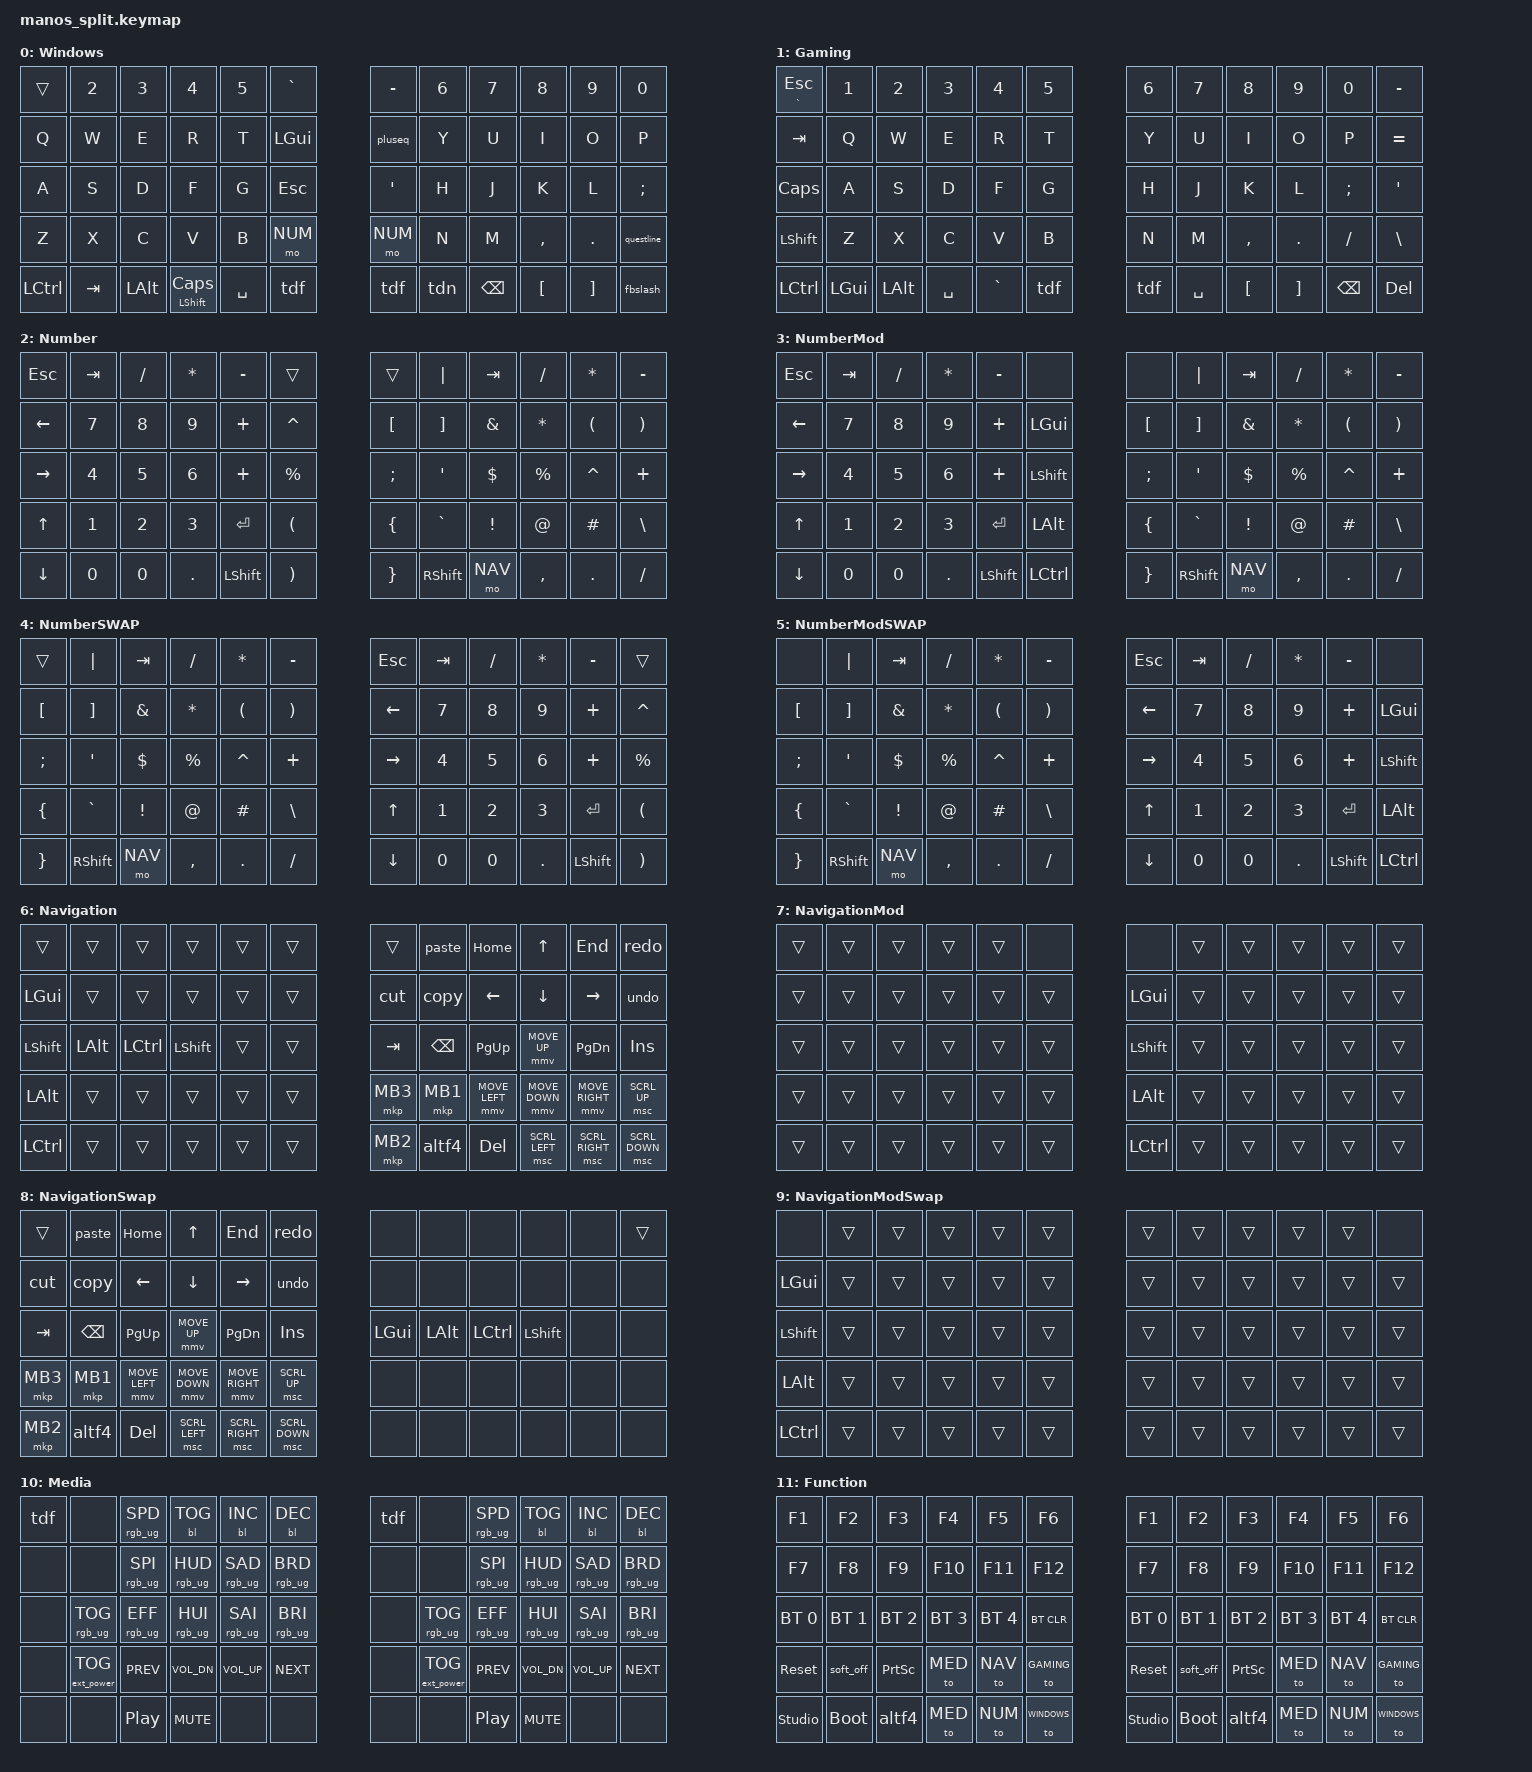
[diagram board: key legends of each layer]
#include <behaviors.dtsi>
#include <dt-bindings/zmk/keys.h>
#include <dt-bindings/zmk/bt.h>
#include <dt-bindings/zmk/outputs.h>
#include <dt-bindings/zmk/backlight.h>
#include <dt-bindings/zmk/rgb.h>
#include <dt-bindings/zmk/ext_power.h>

#define ZMK_POINTING_DEFAULT_MOVE_VAL 600
#define ZMK_POINTING_DEFAULT_SCRL_VAL 10

#include <dt-bindings/zmk/pointing.h>

#define WINDOWS 0
#define GAMING 1
#define NUM 2
#define NUMMOD 3
#define NUMSW 4
#define NUMMODSW 5
#define NAV 6
#define NAVMOD 7
#define NAVSW 8
#define NAVMODSW 9
#define MED 10
#define FUN 11

// Behavior Overrides
&lt {
    tapping-term-ms = <200>;
    flavor = "hold-preferred";
};

/ {
    macros {
        spotlight: spotlight {
            compatible = "zmk,behavior-macro";
            #binding-cells = <0>;
            bindings = <&macro_press &kp LGUI>, <&macro_tap &kp SPACE>, <&macro_release &kp LGUI>; 
        };

        // Emoji
        mac_emoji: mac_emoji {
            compatible = "zmk,behavior-macro";
            #binding-cells = <0>;
            bindings = <&macro_press &kp LGUI>, <&macro_press &kp LCTRL>, <&macro_tap &kp SPACE>, <&macro_release &kp LCTRL>, <&macro_release &kp LGUI>; 
        };

        windows_emoji: windows_emoji {
            compatible = "zmk,behavior-macro";
            #binding-cells = <0>;
            bindings = <&macro_press &kp LGUI>, <&macro_tap &kp DOT>, <&macro_release &kp LGUI>; 
        };

        altf4: alt_f4 {
            compatible = "zmk,behavior-macro";
            #binding-cells = <0>;
            bindings = <&macro_press &kp LALT>, <&macro_tap &kp F4>, <&macro_release &kp LALT>; 
        };

        cut: cut {
            compatible = "zmk,behavior-macro";
            #binding-cells = <0>;
            bindings = <&macro_press &kp LCTRL>, <&macro_tap &kp X>, <&macro_release &kp LCTRL>; 
        };

        copy: copy {
            compatible = "zmk,behavior-macro";
            #binding-cells = <0>;
            bindings = <&macro_press &kp LCTRL>, <&macro_tap &kp C>, <&macro_release &kp LCTRL>; 
        };

        paste: paste {
            compatible = "zmk,behavior-macro";
            #binding-cells = <0>;
            bindings = <&macro_press &kp LCTRL>, <&macro_tap &kp V>, <&macro_release &kp LCTRL>; 
        };

        undo: undo {
            compatible = "zmk,behavior-macro";
            #binding-cells = <0>;
            bindings = <&macro_press &kp LCTRL>, <&macro_tap &kp Z>, <&macro_release &kp LCTRL>; 
        };

        redo: redo {
            compatible = "zmk,behavior-macro";
            #binding-cells = <0>;
            bindings = <&macro_press &kp LCTRL>, <&macro_tap &kp Y>, <&macro_release &kp LCTRL>; 
        };
    };

    behaviors {
        bm: bottom_row_mods {
            compatible = "zmk,behavior-hold-tap";
            #binding-cells = <2>;
            tapping-term-ms = <135>;
            quick-tap-ms = <0>;
            flavor = "tap-preferred";
            bindings = <&kp>, <&kp>;
        };

        cm: code_row_mods {
            compatible = "zmk,behavior-hold-tap";
            #binding-cells = <2>;
            tapping-term-ms = <200>;
            quick-tap-ms = <0>;
            flavor = "tap-preferred";
            bindings = <&kp>, <&kp>;
            retro-tap;
        };

        sm: space_mod {
            compatible = "zmk,behavior-hold-tap";
            #binding-cells = <2>;
            flavor = "balanced";
            tapping-term-ms = <200>;
            quick-tap-ms = <125>;
            bindings = <&kp>, <&kp>;
        };

        td_multi_mac: tap_dance_multi_mac {
            compatible = "zmk,behavior-tap-dance";
            #binding-cells = <0>;
            tapping-term-ms = <200>;
            bindings = <&sm ESC LALT>, <&spotlight>, <&kp LCTRL>, <&mac_emoji>;
        };

        td_multi_windows: tap_dance_multi_windows {
            compatible = "zmk,behavior-tap-dance";
            #binding-cells = <0>;
            tapping-term-ms = <200>;
            bindings = <&sm ESC LALT>, <&kp LGUI>, <&windows_emoji>;
        };

        tdf: tap_dance_layer_fun {
            compatible = "zmk,behavior-tap-dance";
            #binding-cells = <0>;
            tapping-term-ms = <200>;
            bindings = <&mo FUN>, <&to FUN>;
        };

        tdn: tap_dance_layer_nav {
            compatible = "zmk,behavior-tap-dance";
            #binding-cells = <0>;
            tapping-term-ms = <200>;
            bindings = <&mo NAV>, <&to NAV>;
        };


        fbslash: forward_backward_slash {
            compatible = "zmk,behavior-mod-morph";
            #binding-cells = <0>;
            bindings = <&kp FSLH>, <&kp BSLH>;
            mods = <(MOD_LGUI|MOD_LSFT|MOD_RGUI|MOD_RSFT)>;
        };

        questline: questionmark_pipe {
            compatible = "zmk,behavior-mod-morph";
            #binding-cells = <0>;
            bindings = <&kp FSLH>, <&kp BSLH>;
            mods = <(MOD_LGUI|MOD_LSFT|MOD_RGUI|MOD_RSFT)>;
            keep-mods = <(MOD_LGUI|MOD_LSFT|MOD_RGUI|MOD_RSFT)>; 
        };

        bspacedel: backspace_delete {
            compatible = "zmk,behavior-mod-morph";
            #binding-cells = <0>;
            bindings = <&kp BSPC>, <&kp DEL>;
            mods = <(MOD_LGUI|MOD_LCTL|MOD_LALT|MOD_RGUI|MOD_RCTL|MOD_RALT)>;
        };

        pluseq: pluse_equal {
            compatible = "zmk,behavior-mod-morph";
            #binding-cells = <0>;
            bindings = <&kp PLUS>, <&kp EQUAL>;
            mods = <(MOD_LSFT|MOD_RSFT)>;
            keep-mods = <(MOD_LSFT|MOD_RSFT)>;
        };
    };
    
    keymap {
        compatible = "zmk,keymap";

        windows_main {
            display-name = "Windows";
            bindings = <
            // -------------------------------------------------------------------------------------------------------------------------------------------------------
            // |   1      |    2   |    3    |    4          |  5      |    `        | || |   -          |      6         |   7         |    8    |   9     |   0    |
            // |   Q      |    W   |    E    |    R          |  T      |   GUI       | || |   + - =      |      Y         |   U         |    I    |   O     |   P    |
            // |   A      |    S   |    D    |    F          |  G      |   ESC       | || |    '         |      H         |   J         |    K    |   L     |   ;    |
            // |   Z      |    X   |    C    |    V          |  B      |  NUMBER     | || |   NUMBER     |      N         |   M         |    ,    |   .     | ? - |  |
            // |  CTRL    |  TAB   |   ALT   |  SHIFT - CAPS | SPACE   |   FUN       | || |   FUN        |     NAV        |  BSPC-DEL   | brack l | brack f | f slash - back slash |
                &trans    &kp N2   &kp N3    &kp N4          &kp N5    &kp GRAVE           &kp MINUS     &kp N6           &kp N7        &kp N8    &kp N9    &kp N0   
                &kp Q     &kp W    &kp E     &kp R           &kp T     &kp LGUI            &pluseq       &kp Y            &kp U         &kp I     &kp O     &kp P    
                &kp A     &kp S    &kp D     &kp F           &kp G     &kp ESC             &kp SQT       &kp H            &kp J         &kp K     &kp L     &kp SEMI 
                &kp Z     &kp X    &kp C     &kp V           &kp B     &mo NUM             &mo NUM       &kp N            &kp M         &kp COMMA &kp DOT   &questline
                &kp LCTRL &kp TAB  &kp LALT  &mt LSHIFT CAPS &kp SPACE &tdf        &tdf  &tdn     &kp BSPC      &kp LBKT  &kp RBKT  &fbslash
            >;
        };

        gaming_layer {
            display-name = "Gaming";
            bindings = <
            // ---------------------------------------------------------------------------------------------------------------------------------
            // | ` - ESC |   1    |    2   |    3    |    4    |  5          | || |    6        |   7    |    8    |   9    |   0    |    -    |
            // |  TAB    |   Q    |    W   |    E    |    R    |  T          | || |    Y        |   U    |    I    |   O    |   P    |    =    |
            // |  CAPS   |   A    |    S   |    D    |    F    |  G          | || |    H        |   J    |    K    |   L    |   ;    |    '    |
            // |  SHIFT  |   Z    |    X   |    C    |    V    |  B          | || |    N        |   M    |    ,    |   .    |f slash |b slash  |
            // |  CTRL   |  GUI   |   ALT  |  SPACE  |    `    | FUN         | || |    FUN      |  FUN   |L brack  |r brack |  BSPC  | DELETE  |
            &mt GRAVE ESC &kp N1   &kp N2   &kp N3    &kp N4    &kp N5            &kp N6        &kp N7    &kp N8    &kp N9   &kp N0   &kp MINUS 
                &kp TAB   &kp Q    &kp W    &kp E     &kp R     &kp T             &kp Y         &kp U     &kp I     &kp O    &kp P    &kp EQUAL
                &kp CAPS  &kp A    &kp S    &kp D     &kp F     &kp G             &kp H         &kp J     &kp K     &kp L    &kp SEMI &kp SQT
                &kp LSHFT &kp Z    &kp X    &kp C     &kp V     &kp B             &kp N         &kp M     &kp COMMA &kp DOT  &kp FSLH &kp BSLH
                &kp LCTRL &kp LGUI &kp LALT &kp SPACE &kp GRAVE &tdf      &tdf  &kp SPACE &kp LBKT  &kp RBKT &kp BSPC &kp DEL
            >;
        };
            
        number_layer {
            display-name = "Number";
            bindings = < 
            // -----------------------------------------------------------------------------------------------------------------------------------------------------------------
            // |  ESC     |  TAB  | f slash|   *         |     -   |  Mod-Fun-Swap       | || |  Mod-Fun-Swap       |      |       |  TAB   | f slash    |     *      |   -    |
            // |   ◀      |   7   |    8   |  9         |     +   |    ^                | || |     L Bracket        |   R Bracket  |  &     |     *      |  Left P    |Right P |
            // |    ▶     |   4   |    5   |  6         |    +    |    %                | || |     ;                |     '        |  $     |      %     |     ^      |   +    |
            // |    ▲     |  1    |    2   |  3         |  ENTER  |    Left Parenthesis | || |  Left Brace          |      `       |     !  |     @      |     #      |b slash|
            // |    ▼     |  0    |    0   |  .         |  SHIFT  |    Right Parenthesis| || |  Right Brace         | SHIFT        | ToNav  |     ,      |     .      |f slash|
                &kp ESC   &kp TAB &kp FSLH &kp ASTERISK &kp MINUS &trans     &trans &kp PIPE       &kp TAB  &kp FSLH     &kp ASTERISK &kp MINUS
                &kp LEFT  &kp N7  &kp N8   &kp N9       &kp PLUS  &kp CARET                  &kp LBKT               &kp RBKT       &kp AMPS &kp ASTERISK &kp LPAR     &kp RPAR
                &kp RIGHT &kp N4  &kp N5   &kp N6       &kp PLUS  &kp PRCNT                  &kp SEMICOLON          &kp APOSTROPHE &kp DLLR &kp PRCNT    &kp CARET    &kp PLUS
                &kp UP    &kp N1  &kp N2   &kp N3       &kp ENTER &kp LPAR                   &kp LBRC               &kp GRAVE      &kp EXCL &kp AT       &kp HASH     &kp BSLH
                &kp DOWN  &kp N0  &kp N0   &kp DOT      &kp LSHFT &kp RPAR                   &kp RBRC               &kp RSHFT      &mo NAV  &kp COMMA    &kp DOT      &kp FSLH
            >;
        };

        number_layer_mods {
            display-name = "NumberMod";
            bindings = < 
            // ----------------------------------------------------------------------------------------------------------------------------------------------------
            // |  ESC     |  TAB  |    /   |  *         |     -   |  Mod-Fun-Swap | || |  Mod-Fun-Swap  |      |       |  TAB   | f slash    |     *      |   -    |
            // |   ◀     |   7    |    8   |  9         |     +   |    GUI        | || |     [          |     ]        |  &     |     *      |     (      |   )    |
            // |    ▶    |   4    |    5   |  6         |    +    |    SHIFT      | || |     ;          |     '        |  $     |      %     |     ^      |   +    |
            // |    ▲     |  1    |    2   |  3         |  ENTER  |    ALT        | || |     {          |      `       |     !  |     @      |     #      | b slash     |
            // |    ▼     |  0    |    0   |  .         |  SHIFT  |    CTRL       | || |     }          | SHIFT        | ToNav  |     ,      |     .      |f slash    |
                &kp ESC   &kp TAB &kp FSLH &kp ASTERISK &kp MINUS &none                 &none           &kp PIPE       &kp TAB  &kp FSLH     &kp ASTERISK &kp MINUS
                &kp LEFT  &kp N7  &kp N8   &kp N9       &kp PLUS  &kp LGUI              &kp LBKT        &kp RBKT       &kp AMPS &kp ASTERISK &kp LPAR     &kp RPAR
                &kp RIGHT &kp N4  &kp N5   &kp N6       &kp PLUS  &kp LSHFT             &kp SEMICOLON   &kp APOSTROPHE &kp DLLR &kp PRCNT    &kp CARET    &kp PLUS
                &kp UP    &kp N1  &kp N2   &kp N3       &kp ENTER &kp LALT              &kp LBRC        &kp GRAVE      &kp EXCL &kp AT       &kp HASH     &kp BSLH
                &kp DOWN  &kp N0  &kp N0   &kp DOT      &kp LSHFT &kp LCTRL             &kp RBRC        &kp RSHFT      &mo NAV  &kp COMMA    &kp DOT      &kp FSLH
            >;
        };


        number_layer_swap {
            display-name = "NumberSWAP";
            bindings = < 
            // -----------------------------------------------------------------------------------------------------------------------------------------------------------------
            // |  Mod-Fun-Swap        |      |       |  TAB   |  f slash     |     *      |   -    | ||  |  ESC     |  TAB  |  f slash    |  *         |     -   |  Mod-Fun-Swap       |
            // |     [                |     ]        |  &     |     *      |     (      |   )    | ||  |   ◀     |   7    |    8   |  9         |     +   |    ^                |
            // |     ;                |     '        |  $     |      %     |     ^      |   +    | ||  |    ▶    |   4    |    5   |  6         |    +    |    %                |
            // |     {                |      `       |     !  |     @      |     #      |b slash    | ||  |    ▲     |  1    |    2   |  3         |  ENTER  |    Left Parenthesis |
            // |     }                | SHIFT        | ToNav  |     ,      |     .      | f slash     | ||  |    ▼     |  0    |    0   |  .         |  SHIFT  |    Right Parenthesis|
               &trans &kp PIPE       &kp TAB  &kp FSLH     &kp ASTERISK &kp MINUS       &kp ESC   &kp TAB &kp FSLH &kp ASTERISK &kp MINUS &trans     
               &kp LBKT               &kp RBKT       &kp AMPS &kp ASTERISK &kp LPAR     &kp RPAR        &kp LEFT  &kp N7  &kp N8   &kp N9       &kp PLUS  &kp CARET                  
               &kp SEMICOLON          &kp APOSTROPHE &kp DLLR &kp PRCNT    &kp CARET    &kp PLUS        &kp RIGHT &kp N4  &kp N5   &kp N6       &kp PLUS  &kp PRCNT                  
               &kp LBRC               &kp GRAVE      &kp EXCL &kp AT       &kp HASH     &kp BSLH        &kp UP    &kp N1  &kp N2   &kp N3       &kp ENTER &kp LPAR                   
               &kp RBRC               &kp RSHFT      &mo NAV  &kp COMMA    &kp DOT      &kp FSLH        &kp DOWN  &kp N0  &kp N0   &kp DOT      &kp LSHFT &kp RPAR                   
            >;
        };

        number_layer_mods_swap {
            display-name = "NumberModSWAP";
            bindings = < 
            //  ------------------------------------------------------------------------------------------------------------------------------------------------------------
            //  |  Mod-Fun-Swap |      |       |  TAB   | f slash    |     *      |   -    |  ||  |  ESC     |  TAB  | F slash|  *         |     -   |  Mod-Fun-Swap       |
            //  |  L bracket    | R bracket    |  &     |     *      |  L Par     | L Par  |  ||  |   ◀     |   7    |    8   |  9         |     +   |    GUI              |
            //  |     ;         |     '        |  $     |      %     |     ^      |   +    |  ||  |    ▶    |   4    |    5   |  6         |    +    |    SHIFT            |
            //  |  L brace      |      `       |     !  |     @      |     #      | b slash|  ||  |    ▲     |  1    |    2   |  3         |  ENTER  |    ALT              |
            //  |  R brace      | SHIFT        | ToNav  |     ,      |     .      | f slash|  ||  |    ▼     |  0    |    0   |  .         |  SHIFT  |    CTRL             |
                &none           &kp PIPE       &kp TAB  &kp FSLH     &kp ASTERISK &kp MINUS        &kp ESC   &kp TAB &kp FSLH &kp ASTERISK &kp MINUS &none 
                &kp LBKT        &kp RBKT       &kp AMPS &kp ASTERISK &kp LPAR     &kp RPAR         &kp LEFT  &kp N7  &kp N8   &kp N9       &kp PLUS  &kp LGUI               
                &kp SEMICOLON   &kp APOSTROPHE &kp DLLR &kp PRCNT    &kp CARET    &kp PLUS         &kp RIGHT &kp N4  &kp N5   &kp N6       &kp PLUS  &kp LSHFT              
                &kp LBRC        &kp GRAVE      &kp EXCL &kp AT       &kp HASH     &kp BSLH         &kp UP    &kp N1  &kp N2   &kp N3       &kp ENTER &kp LALT               
                &kp RBRC        &kp RSHFT      &mo NAV  &kp COMMA    &kp DOT      &kp FSLH         &kp DOWN  &kp N0  &kp N0   &kp DOT      &kp LSHFT &kp LCTRL              
            >;
        };

        navigation_layer {
            display-name = "Navigation";
            bindings =<
            // -----------------------------------------------------------------------------------------------------------------------------------------------------------------------------------------
            // |  NaN      |     NaN    |      NaN   |  NaN       |    NaN     |  Mod-Fun-Swap       | || |  Mod-Fun-Swap        |    PASTE   |     Home    |      ▲       |    END         |   Redo   |
            // |  GUI      |     NaN    |      NaN   |  NaN       |    NaN     |    NaN              | || |     CUT              |    COPY    |     ◀       |     ▼        |    ▶          |   Undo   |
            // |  SHIFT    |     NaN    |      NaN   |  NaN       |    NaN     |    NaN              | || | TAB                  | Backspace  |  Page Up    |      ▲ M     | Page Down      |   Insert |
            // |  ALT      |     NaN    |      NaN   |  NaN       |    NaN     |    NaN              | || |Midle Click           | Left Click |     ◀ M     |     ▼ M      |    ▶ M        |   ▲ W    |
            // |  CTRL     |     NaN    |      NaN   |  NaN       |    NaN     |    NaN              | || |Right Click           | Close      |     DEL     |     ◀ W      |  ▶ W          |    ▼ W   |
                &trans     &trans       &trans       &trans       &trans       &trans                     &trans                 &paste       &kp HOME       &kp UP         &kp END         &redo         
                &kp LGUI   &trans       &trans       &trans       &trans       &trans                     &cut                   &copy        &kp LEFT       &kp DOWN       &kp RIGHT       &undo         
                &kp LSHFT  &kp LALT     &kp LCTRL    &kp LSHFT       &trans       &trans                     &kp TAB                &kp BSPC     &kp PG_UP      &mmv MOVE_UP   &kp PG_DN       &kp INSERT    
                &kp LALT   &trans       &trans       &trans       &trans       &trans                     &mkp MB3               &mkp MB1     &mmv MOVE_LEFT &mmv MOVE_DOWN &mmv MOVE_RIGHT &msc SCRL_UP  
                &kp LCTRL  &trans       &trans       &trans       &trans       &trans                     &mkp MB2               &altf4       &kp DEL        &msc SCRL_LEFT &msc SCRL_RIGHT &msc SCRL_DOWN
            >;
        };
        
        navigation_laye_mods {
            display-name = "NavigationMod";
            bindings =<
            // --------------------------------------------------------------------------------------------------------------------------------------------------------------------------------
            // |  NaN      |     NaN    |      NaN   |  NaN       |    NaN     |  Mod-Fun-Swap       | || |  Mod-Fun-Swap         |    PASTE   |     Home    |      ▲       |    END        |   Redo    |
            // |  NaN      |     NaN    |      NaN   |  NaN       |    NaN     |    NaN              | || |     GUI               |    COPY    |     ◀       |     ▼        |    ▶         |   Undo    |
            // |  Gui      |     ALT    |      CTRL  |  SHIFT     |    NaN     |    NaN              | || | SHIFT                 | Backspace  |  Page Up    |      ▲ M     | Page Down     |   Insert  |
            // |  NaN      |     NaN    |      NaN   |  NaN       |    NaN     |    NaN              | || |       ALT             | Left Click |     ◀ M     |     ▼ M      |    ▶ M       |     ▲ W   |
            // |  NaN      |     NaN    |      NaN   |  NaN       |    NaN     |    NaN              | || |       CTRL            | Close      |     DEL     |     ◀ W      |  ▶ W          |    ▼ W   |
                &trans     &trans       &trans       &trans       &trans       &none                       &none                  &trans       &trans        &trans      &trans       &trans
                &trans     &trans       &trans       &trans       &trans       &trans                      &kp LGUI               &trans       &trans        &trans      &trans       &trans
                &trans     &trans       &trans       &trans       &trans       &trans                      &kp LSHFT              &trans       &trans        &trans      &trans       &trans
                &trans     &trans       &trans       &trans       &trans       &trans                      &kp LALT               &trans       &trans        &trans      &trans       &trans
                &trans     &trans       &trans       &trans       &trans       &trans                      &kp LCTRL              &trans       &trans        &trans      &trans       &trans
            >;
        };
        
        navigation_layer_swap {
            display-name = "NavigationSwap";
            bindings =<
                &trans &paste       &kp HOME       &kp UP         &kp END         &redo           &none      &none        &none        &none        &none        &trans
                &cut                   &copy        &kp LEFT       &kp DOWN       &kp RIGHT       &undo           &none      &none        &none        &none        &none        &none
                &kp TAB                &kp BSPC     &kp PG_UP      &mmv MOVE_UP   &kp PG_DN       &kp INSERT      &kp LGUI   &kp LALT     &kp LCTRL    &kp LSHFT       &none        &none 
                &mkp MB3               &mkp MB1     &mmv MOVE_LEFT &mmv MOVE_DOWN &mmv MOVE_RIGHT &msc SCRL_UP    &none      &none        &none        &none        &none        &none
                &mkp MB2               &altf4       &kp DEL        &msc SCRL_LEFT &msc SCRL_RIGHT &msc SCRL_DOWN  &none      &none        &none        &none        &none        &none
            >;
        };
        
        navigation_laye_mods_swap {
            display-name = "NavigationModSwap";
            bindings =<
                &none          &trans       &trans       &trans       &trans       &trans            &trans         &trans       &trans        &trans      &trans       &none
                &kp LGUI       &trans       &trans       &trans       &trans       &trans            &trans         &trans       &trans        &trans      &trans       &trans
                &kp LSHFT      &trans       &trans       &trans       &trans       &trans            &trans         &trans       &trans        &trans      &trans       &trans
                &kp LALT       &trans       &trans       &trans       &trans       &trans            &trans         &trans       &trans        &trans      &trans       &trans
                &kp LCTRL      &trans       &trans       &trans       &trans       &trans            &trans         &trans       &trans        &trans      &trans       &trans
            >;
        };
        

        media_layer {
            display-name = "Media";
            bindings =<
            // ---------------------------------------------------------------------------------------------------------------------------------------------------------------------
            // |    FUN      |    NaN          |   RGB_SPD     | BL_TOG        | BL_INC        |  BL_DEC      | || |    FUN      |    NaN          |   RGB_SPD     | BL_TOG        | BL_INC        |  BL_DEC  |
            // |    NaN      |    NaN          |   RGB_SPI     | RGB_HUD       | RGB_SAD       |  RGB_BRD     | || |    NaN      |    NaN          |   RGB_SPI     | RGB_HUD       | RGB_SAD       |  RGB_BRD |
            // |    NaN      | RGB_TOG         |   RGB_EFF     | RGB_HUI       | RGB_SAI       |  RGB_BRI     | || |    NaN      | RGB_TOG         |   RGB_EFF     | RGB_HUI       | RGB_SAI       |  RGB_BRI |
            // |    NaN      | Ext Pow Tog     |   Prev        | VOLUME Down   | Volume UP     |   Next       | || |    NaN      | Ext Pow Tog     |   Prev        | VOLUME Down   | Volume UP     |   Next   |
            // |    NaN      |    NaN          |Play - Pause   |  MUTE         |    NaN        |   NaN        | || |    NaN      |    NaN          |Play - Pause   |  MUTE         |    NaN        |   NaN    |
                &tdf &none             &rgb_ug RGB_SPD &bl BL_TOG      &bl BL_INC  &bl BL_DEC               &tdf &none             &rgb_ug RGB_SPD &bl BL_TOG      &bl BL_INC  &bl BL_DEC
                &none        &none             &rgb_ug RGB_SPI &rgb_ug RGB_HUD &rgb_ug RGB_SAD &rgb_ug RGB_BRD      &none        &none             &rgb_ug RGB_SPI &rgb_ug RGB_HUD &rgb_ug RGB_SAD &rgb_ug RGB_BRD
                &none        &rgb_ug RGB_TOG   &rgb_ug RGB_EFF &rgb_ug RGB_HUI &rgb_ug RGB_SAI &rgb_ug RGB_BRI      &none        &rgb_ug RGB_TOG   &rgb_ug RGB_EFF &rgb_ug RGB_HUI &rgb_ug RGB_SAI &rgb_ug RGB_BRI
                &none        &ext_power EP_TOG &kp C_PREV      &kp C_VOL_DN    &kp C_VOL_UP    &kp C_NEXT           &none        &ext_power EP_TOG &kp C_PREV      &kp C_VOL_DN    &kp C_VOL_UP    &kp C_NEXT
                &none        &none             &kp C_PP        &kp C_MUTE      &none           &none                &none        &none             &kp C_PP        &kp C_MUTE      &none           &none
            >;
        };


        function_layer {
            display-name = "Function";
            bindings =<
            // ---------------------------------------------------------------------------------------------------------------------------------------------------------------------
            // |  F1           |     F2     |       F3   |  F4        |    F5      |    F6     | || |  F1           |     F2     |       F3   |  F4        |    F5      |    F6     |
            // |  F7           |     F8     |       F9   |  F10       |    F11     |    F12    | || |  F7           |     F8     |       F9   |  F10       |    F11     |    F12    |
            // |  BT SELLECT 0 |BT SELLECT 1|BT SELLECT 2|BT SELLECT 3|BT SELLECT 4|BT CLEAR   | || |  BT SELLECT 0 |BT SELLECT 1|BT SELLECT 2|BT SELLECT 3|BT SELLECT 4|BT CLEAR   |
            // | SYSTEM RESET  | SOFT OFF   |     PRINT  |  !!!       |    NAV     |   GAMING  | || | SYSTEM RESET  | SOFT OFF   |     PRINT  |  !!!       |    NAV     |   GAMING  |
            // | Studio Unlock | Bootloader |CLOSE PROGR |  Out tog!!!|    NUM     |   WINDOWS | || | Studio Unlock | Bootloader |CLOSE PROGR |  !!!       |    NUM     |   WINDOWS |
                &kp F1         &kp F2       &kp F3       &kp F4       &kp F5       &kp F6            &kp F1         &kp F2       &kp F3       &kp F4       &kp F5       &kp F6
                &kp F7         &kp F8       &kp F9       &kp F10      &kp F11      &kp F12           &kp F7         &kp F8       &kp F9       &kp F10      &kp F11      &kp F12
                &bt BT_SEL 0   &bt BT_SEL 1 &bt BT_SEL 2 &bt BT_SEL 3 &bt BT_SEL 4 &bt BT_CLR        &bt BT_SEL 0   &bt BT_SEL 1 &bt BT_SEL 2 &bt BT_SEL 3 &bt BT_SEL 4 &bt BT_CLR
                &sys_reset     &soft_off    &kp PSCRN    &to MED      &to NAV      &to GAMING        &sys_reset     &soft_off    &kp PSCRN    &to MED         &to NAV      &to GAMING
                &studio_unlock &bootloader  &altf4       &to MED      &to NUM      &to WINDOWS       &studio_unlock &bootloader  &altf4       &to MED         &to NUM      &to WINDOWS
            >;
        };


    };
};
